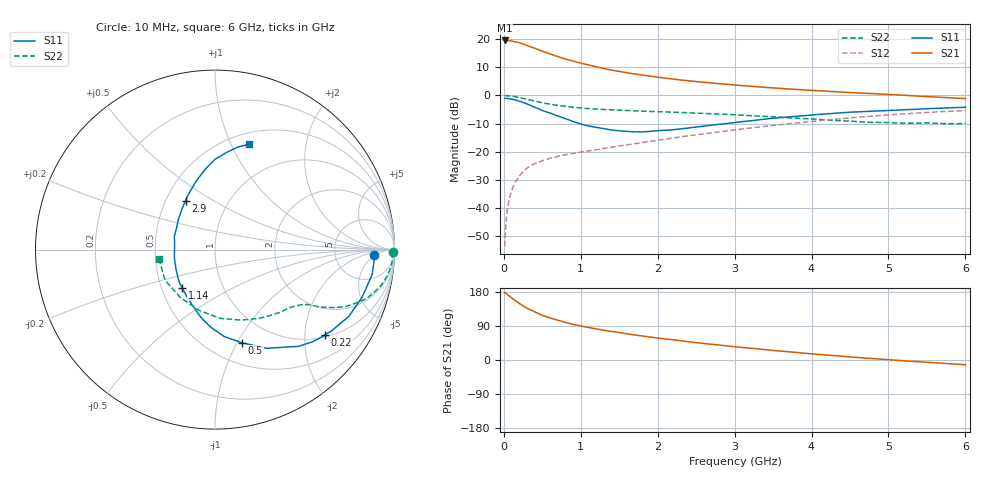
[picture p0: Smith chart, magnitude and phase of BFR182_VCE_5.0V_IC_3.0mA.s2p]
! Infineon Technologies  Discrete & RF Semiconductors
! BFR182
! VCE =  5.0 V,  IC =  3.0 mA
! Common Emitter S-Parameters:  Nov 2015
# GHz  S  MA  R  50
!  f  S11  S21  S12  S22
! GHz  MAG  ANG  MAG  ANG  MAG  ANG  MAG  ANG
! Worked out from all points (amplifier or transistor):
!   210 points, 10 MHz to 6 GHz, reference 50 ohm
!   highest |S21| = 19.6 dB at 10 MHz (marker M1)
!   |S21| within 3 dB of that: start of sweep to 425.5 MHz
!   unconditionally stable (mu >= 1): 1.305 GHz to 2.999 GHz
!   at 185 MHz: K = 0.23, MSG = 24.0 dB, |S12| = -29.2 dB
!   at 1.52 GHz: K = 1.04, MAG = 11.9 dB, |S12| = -17.9 dB
!   at 6 GHz: K = 0.88, MSG = 2.1 dB, |S12| = -5.4 dB
!   S11 on the Smith chart (normalised r, x): 10 MHz: 16, -5; 220 MHz: 1.06, -2.53; 500 MHz: 0.71, -1.05; 1.14 GHz: 0.64, -0.29; 2.9 GHz: 0.63, +0.38; 6 GHz: 0.62, +1.18
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0.01  0.888 -2.0  9.496 178.4  0.0021 90.3  0.9938 -0.9
0.02  0.8889 -3.6  9.327 176.5  0.0038 91.4  0.9876 -1.7
0.045  0.8862 -8.2  9.44 172.7  0.0093 85.2  0.9886 -3.7
0.1  0.8611 -18.1  9.327 164.4  0.02 80.7  0.9755 -8.0
0.15  0.8333 -26.5  8.927 156.2  0.0292 75.5  0.9507 -11.7
0.2  0.7927 -34.6  8.69 149.3  0.0368 71.6  0.9196 -14.9
0.22  0.7756 -37.7  8.485 146.8  0.0399 69.7  0.9068 -16.0
0.3  0.7112 -49.3  7.707 136.9  0.0511 65.4  0.8571 -19.8
0.4  0.6205 -62.4  6.947 126.9  0.0615 60.6  0.7951 -23.5
0.5  0.5414 -73.7  6.125 117.7  0.0691 57.7  0.74 -25.9
0.6  0.488 -83.8  5.464 110.9  0.0766 55.7  0.7001 -27.4
0.7  0.4332 -93.1  4.915 104.7  0.0825 54.4  0.6673 -28.6
0.86  0.3609 -106.2  4.216 96.1  0.0913 54.0  0.6263 -29.8
1.02  0.3064 -120.5  3.705 88.9  0.0995 54.6  0.5951 -31.0
1.14  0.2805 -131.1  3.384 84.3  0.106 55.0  0.5792 -31.9
1.6  0.2307 -168.9  2.524 69.0  0.1328 56.7  0.5411 -35.9
2.02  0.2382 161.0  2.094 57.4  0.162 57.9  0.5143 -40.9
2.9  0.3189 121.0  1.576 37.2  0.2353 56.2  0.4607 -55.4
3.1  0.3425 115.3  1.496 33.1  0.2538 54.9  0.4459 -59.7
4.1  0.4613 95.4  1.21 14.7  0.3559 46.6  0.3744 -89.1
5.1  0.5514 82.2  1.027 -0.6  0.462 34.5  0.3251 -130.0
6  0.6176 72.0  0.88 -12.4  0.539 21.0  0.3167 -170.6
